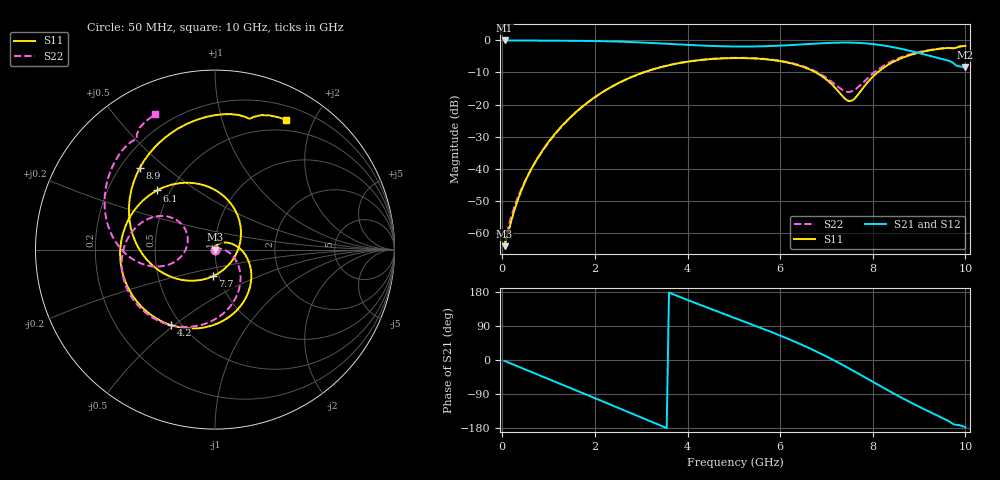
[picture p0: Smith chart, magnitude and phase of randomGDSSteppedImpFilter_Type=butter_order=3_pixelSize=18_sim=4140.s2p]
! freq	dB(S11)	phase(S11)	dB(S12)	phase(S12)
!  dB(S21)	phase(S21)	dB(S22)	phase(S22)
!S-par simulation data
#  GHz  S  DB  R 50
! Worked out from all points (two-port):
!   200 points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, 50 MHz to 10 GHz, reference 50 ohm
!   highest |S21| = -0.01 dB at 50 MHz (marker M1); lowest = -8.4 dB at 10 GHz (marker M2)
!   |S21| within 3 dB of the highest: start of sweep to 8.733 GHz
!   lowest |S11| = -64.2 dB at 50 MHz (marker M3), VSWR 1.00, Z = 50 + j0.0411 ohm
!   |S11| at or under -10 dB: start of sweep to 3.046 GHz; 6.771 GHz to 8.1 GHz (1.329 GHz wide, 17.9 % of centre)
!   |S22| runs from -63.4 to -1.7 dB; largest |S21 - S12| = 0
!   S11 on the Smith chart (normalised r, x): 50 MHz: 1.00, +0.00; 4.2 GHz: 0.44, -0.49; 6.1 GHz: 0.42, +0.36; 7.7 GHz: 0.94, -0.28; 8.9 GHz: 0.28, +0.41; 10 GHz: 0.36, +1.63
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0.05  -64.18 41.7  -0.01 -2.5  -0.01 -2.5  -63.38 39.7
0.3  -51.24 91.0  -0.02 -15.0  -0.02 -15.0  -50.32 43.1
0.7  -38.17 85.3  -0.04 -35.0  -0.04 -35.0  -38.33 24.8
1.25  -27.25 52.5  -0.08 -62.6  -0.08 -62.6  -27.42 3.2
1.75  -20.39 21.0  -0.14 -87.9  -0.14 -87.9  -20.48 -16.4
2.2  -15.79 -6.6  -0.24 -111.0  -0.24 -111.0  -15.83 -35.3
2.65  -12.31 -33.5  -0.43 -134.1  -0.43 -134.1  -12.32 -55.0
3.4  -8.43 -76.7  -0.92 -172.2  -0.92 -172.2  -8.40 -87.9
4.2  -6.24 -120.4  -1.53 149.0  -1.53 149.0  -6.19 -121.4
5.05  -5.50 -165.4  -1.90 109.6  -1.90 109.6  -5.41 -154.4
5.55  -5.72 167.2  -1.85 86.3  -1.85 86.3  -5.62 -173.0
6.1  -6.72 134.4  -1.56 59.5  -1.56 59.5  -6.58 166.9
6.7  -9.47 91.1  -1.04 27.2  -1.04 27.2  -9.20 147.2
7.1  -13.48 50.4  -0.74 3.1  -0.74 3.1  -12.73 142.9
7.45  -18.71 -21.1  -0.66 -19.7  -0.66 -19.7  -16.05 165.7
7.7  -16.55 -94.4  -0.76 -36.7  -0.76 -36.7  -14.35 -168.7
8  -11.32 -143.7  -1.12 -57.5  -1.12 -57.5  -10.33 -162.5
8.35  -7.43 179.1  -1.87 -81.5  -1.87 -81.5  -6.92 -172.3
8.6  -5.65 156.7  -2.58 -98.1  -2.58 -98.1  -5.30 177.2
8.9  -4.17 132.5  -3.58 -117.1  -3.58 -117.1  -3.95 163.4
9.4  -2.69 96.5  -5.44 -146.8  -5.44 -146.8  -2.63 139.8
10  -1.68 61.4  -8.39 -177.4  -8.39 -177.4  -1.69 113.8
